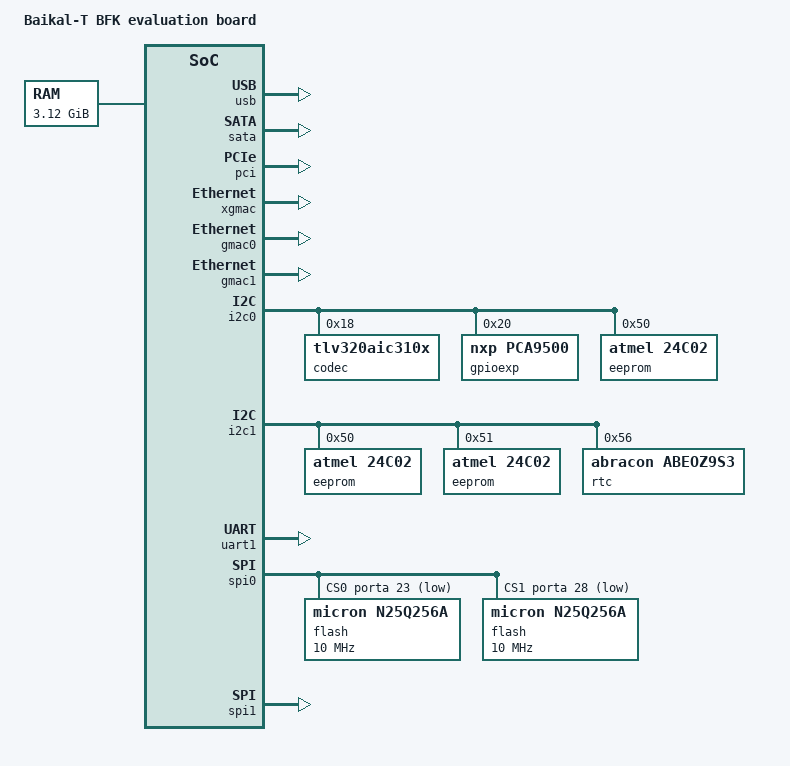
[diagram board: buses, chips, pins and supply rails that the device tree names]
/*
 * Baikal-T BFK1.x evaluation board device tree
 *
 * Copyright (C) 2014-2017  Baikal Electronics JSC
 *
 * This program is free software; you can redistribute it and/or
 * modify it under the terms of the GNU General Public License
 * as published by the Free Software Foundation; either version 2
 * of the License, or (at your option) any later version.
 */

/dts-v1/;

#include <dt-bindings/interrupt-controller/mips-gic.h>
#include <dt-bindings/gpio/gpio.h>

#include  "baikal_t_soc.dtsi"
#include  "baikal_mdio.dtsi"

/ {
	model = "Baikal-T BFK evaluation board";
	compatible = "baikal,mips", "baikal,baikal-t-soc", "baikal,baikal-bfk-eval-board";
	#address-cells = <1>;
	#size-cells = <1>;

	chosen {
		bootargs = "root=/dev/ram rw console=ttyS0,38400 earlyprintk=uart8250,mmio32,0x1F04A000,38400 nohtw";
		linux,initrd-start = <0x01000000>;
		linux,initrd-end   = <0x02000000>;
	};

	memory {
		device_type = "memory";
		reg = <0x00000000 0x08000000>,
		      <0x20000000 0xC0000000>;
	};
};

&usb {
	status = "okay";
};

&sata {
	status = "okay";
};

&pci {
	status = "okay";
};

&xgmac {
	status = "okay";
};

&gmac0 {
	status = "okay";
};

&gmac1 {
	status = "okay";
};

&gpio {
	status = "okay";
};

&i2c0 {
	codec@18 {
		compatible = "tlv320aic310x";
		reg = <0x18>;
	};

	gpioexp: gpioexp@20 {
		compatible = "nxp,pca9500";
		#gpio-cells = <2>;
		reg = <0x20>;
		gpio-controller;
	};

	eeprom@50 {
		compatible = "atmel,24c02";
		pagesize = <16>;
		reg = <0x50>;
	};
};

&i2c1 {
	eeprom@50 {
		compatible = "atmel,24c02";
		pagesize = <16>;
		reg = <0x50>;
	};

	eeprom@51 {
		compatible = "atmel,24c02";
		pagesize = <16>;
		reg = <0x51>;
	};

	rtc@56 {
		compatible = "abracon,abeoz9s3";
		reg = <0x56>;
	};
};

&uart1 {
	status = "okay";
};

&spi0 {
	reg-io-width = <4>;
	num-cs = <3>;
	cs-gpios = <&porta 23 GPIO_ACTIVE_LOW>,
			   <&porta 28 GPIO_ACTIVE_LOW>,
			   <&porta 29 GPIO_ACTIVE_LOW>;

	status = "okay";

	flash@0 {
		#address-cells = <1>;
		#size-cells = <1>;
		status = "okay";
		compatible = "micron,n25q256a", "jedec,spi-nor";
		reg = <0>;
		spi-max-frequency = <10000000>;
		/* m25p,fast-read; */

		mtd@00000000 {
			label = "flash0";
			reg = <0x00000000 0x02000000>;
		};
	};

	flash@1 {
		#address-cells = <1>;
		#size-cells = <1>;
		status = "okay";
		compatible = "micron,n25q256a", "jedec,spi-nor";
		reg = <1>;
		spi-max-frequency = <10000000>;
		/* m25p,fast-read; */

		mtd@00000000 {
			label = "flash1";
			reg = <0x00000000 0x02000000>;
		};
	};
};

&spi1 {
	num-cs = <1>;
	cs-gpios = <&porta 17 GPIO_ACTIVE_HIGH>;

	status = "okay";
};
